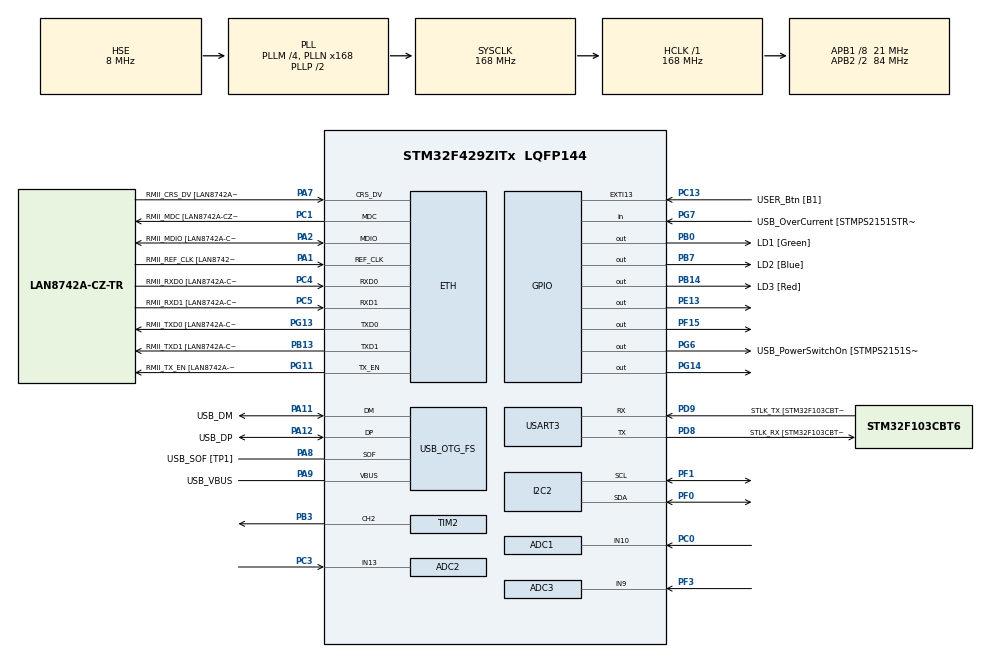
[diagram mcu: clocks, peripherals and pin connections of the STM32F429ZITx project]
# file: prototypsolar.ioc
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ADC1.Channel-0\#ChannelRegularConversion=ADC_CHANNEL_10
ADC1.NbrOfConversionFlag=1
ADC1.Rank-0\#ChannelRegularConversion=1
ADC1.SamplingTime-0\#ChannelRegularConversion=ADC_SAMPLETIME_3CYCLES
ADC1.master=1
ADC2.Channel-1\#ChannelRegularConversion=ADC_CHANNEL_13
ADC2.NbrOfConversionFlag=1
ADC2.Rank-1\#ChannelRegularConversion=1
ADC2.SamplingTime-1\#ChannelRegularConversion=ADC_SAMPLETIME_3CYCLES
ADC3.Channel-0\#ChannelRegularConversion=ADC_CHANNEL_9
ADC3.NbrOfConversionFlag=1
ADC3.Rank-0\#ChannelRegularConversion=1
ADC3.SamplingTime-0\#ChannelRegularConversion=ADC_SAMPLETIME_3CYCLES
ETH.MediaInterface=HAL_ETH_RMII_MODE
ETH.PHY_Name=LAN8742A_PHY_ADDRESS
ETH.PHY_Value=0
ETH.PhyAddress=0
Mcu.Family=STM32F4
Mcu.Name=STM32F429ZITx
Mcu.Package=LQFP144
NVIC.PriorityGroup=NVIC_PRIORITYGROUP_4
NVIC.TIM2_IRQn=true\:0\:0\:false\:false\:true\:true\:true\:true
PA1.GPIO_Label=RMII_REF_CLK [LAN8742A-CZ-TR_REFCLK0]
PA1.Mode=RMII
PA1.Signal=ETH_REF_CLK
PA10.GPIO_Label=USB_ID
PA10.Signal=USB_OTG_FS_ID
PA11.GPIO_Label=USB_DM
PA11.Mode=Device_Only
PA11.Signal=USB_OTG_FS_DM
PA12.GPIO_Label=USB_DP
PA12.Mode=Device_Only
PA12.Signal=USB_OTG_FS_DP
PA13.GPIO_Label=TMS
PA13.Mode=Serial_Wire
PA13.Signal=SYS_JTMS-SWDIO
PA14.GPIO_Label=TCK
PA14.Mode=Serial_Wire
PA14.Signal=SYS_JTCK-SWCLK
PA2.GPIO_Label=RMII_MDIO [LAN8742A-CZ-TR_MDIO]
PA2.Mode=RMII
PA2.Signal=ETH_MDIO
PA7.GPIO_Label=RMII_CRS_DV [LAN8742A-CZ-TR_CRS_DV]
PA7.Mode=RMII
PA7.Signal=ETH_CRS_DV
PA8.GPIO_Label=USB_SOF [TP1]
PA8.Mode=Activate_SOF_FS
PA8.Signal=USB_OTG_FS_SOF
PA9.GPIO_Label=USB_VBUS
PA9.Mode=Activate_VBUS
PA9.Signal=USB_OTG_FS_VBUS
PB0.GPIO_Label=LD1 [Green]
PB0.Signal=GPIO_Output
PB13.GPIO_Label=RMII_TXD1 [LAN8742A-CZ-TR_TXD1]
PB13.Mode=RMII
PB13.Signal=ETH_TXD1
PB14.GPIO_Label=LD3 [Red]
PB14.Signal=GPIO_Output
PB3.Signal=S_TIM2_CH2
PB7.GPIO_Label=LD2 [Blue]
PB7.Signal=GPIO_Output
PC0.Signal=ADCx_IN10
PC1.GPIO_Label=RMII_MDC [LAN8742A-CZ-TR_MDC]
PC1.Mode=RMII
PC1.Signal=ETH_MDC
PC13.GPIO_Label=USER_Btn [B1]
PC13.Signal=GPXTI13
PC14/OSC32_IN.Mode=LSE-External-Oscillator
PC14/OSC32_IN.Signal=RCC_OSC32_IN
PC15/OSC32_OUT.Mode=LSE-External-Oscillator
PC15/OSC32_OUT.Signal=RCC_OSC32_OUT
PC3.Signal=ADCx_IN13
PC4.GPIO_Label=RMII_RXD0 [LAN8742A-CZ-TR_RXD0]
PC4.Mode=RMII
PC4.Signal=ETH_RXD0
PC5.GPIO_Label=RMII_RXD1 [LAN8742A-CZ-TR_RXD1]
PC5.Mode=RMII
PC5.Signal=ETH_RXD1
PD8.GPIO_Label=STLK_RX [STM32F103CBT6_PA3]
PD8.Mode=Asynchronous
PD8.Signal=USART3_TX
PD9.GPIO_Label=STLK_TX [STM32F103CBT6_PA2]
PD9.Mode=Asynchronous
PD9.Signal=USART3_RX
PE13.PinState=GPIO_PIN_SET
PE13.Signal=GPIO_Output
PF0.Mode=I2C
PF0.Signal=I2C2_SDA
PF1.Mode=I2C
PF1.Signal=I2C2_SCL
PF15.PinState=GPIO_PIN_SET
PF15.Signal=GPIO_Output
PF3.Mode=IN9
PF3.Signal=ADC3_IN9
PG11.GPIO_Label=RMII_TX_EN [LAN8742A-CZ-TR_TXEN]
PG11.Mode=RMII
PG11.Signal=ETH_TX_EN
PG13.GPIO_Label=RMII_TXD0 [LAN8742A-CZ-TR_TXD0]
PG13.Mode=RMII
PG13.Signal=ETH_TXD0
PG14.PinState=GPIO_PIN_SET
PG14.Signal=GPIO_Output
PG6.GPIO_Label=USB_PowerSwitchOn [STMPS2151STR_EN]
PG6.Signal=GPIO_Output
PG7.GPIO_Label=USB_OverCurrent [STMPS2151STR_FAULT]
PG7.Signal=GPIO_Input
PH0/OSC_IN.GPIO_Label=MCO [STM32F103CBT6_PA8]
PH0/OSC_IN.Mode=HSE-External-Clock-Source
PH0/OSC_IN.Signal=RCC_OSC_IN
PH1/OSC_OUT.Mode=HSE-External-Clock-Source
PH1/OSC_OUT.Signal=RCC_OSC_OUT
ProjectManager.HeapSize=0x200
ProjectManager.StackSize=0x400
ProjectManager.TargetToolchain=STM32CubeIDE
RCC.48MHZClocksFreq_Value=48000000
RCC.AHBFreq_Value=168000000
RCC.APB1CLKDivider=RCC_HCLK_DIV8
RCC.APB1Freq_Value=21000000
RCC.APB1TimFreq_Value=42000000
RCC.APB2CLKDivider=RCC_HCLK_DIV2
RCC.APB2Freq_Value=84000000
RCC.APB2TimFreq_Value=168000000
RCC.CortexFreq_Value=168000000
RCC.HCLKFreq_Value=168000000
RCC.HSE_VALUE=8000000
RCC.HSI_VALUE=16000000
RCC.PLLM=4
RCC.PLLMUL=RCC_PLL_MUL9
RCC.PLLN=168
RCC.PLLQ=7
RCC.PRESCALERUSB=RCC_USBCLKSOURCE_PLL_DIV1_5
RCC.SYSCLKFreq_VALUE=168000000
RCC.SYSCLKSource=RCC_SYSCLKSOURCE_PLLCLK
RCC.SYSCLKSourceVirtual=RCC_SYSCLKSOURCE_PLLCLK
RCC.USBFreq_Value=48000000
RCC.VCOOutputFreq_Value=336000000
SH.ADCx_IN10.0=ADC1_IN10,IN10
SH.ADCx_IN13.0=ADC2_IN13,IN13
SH.S_TIM2_CH2.0=TIM2_CH2,PWM Generation2 CH2
TIM2.Channel-PWM\ Generation2\ CH2=TIM_CHANNEL_2
TIM2.Period=2000
TIM2.Prescaler=419
USART3.VirtualMode=VM_ASYNC
USB_OTG_FS.VirtualMode=Device_Only
VP_TIM2_VS_ClockSourceINT.Mode=Internal
board=NUCLEO-F429ZI

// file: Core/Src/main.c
/* USER CODE BEGIN Header */
/**
  ******************************************************************************
  * @file           : main.c
  * @brief          : Main program body
  ******************************************************************************
  * @attention
  *
  * Copyright (c) 2023 STMicroelectronics.
  * All rights reserved.
  *
  * This software is licensed under terms that can be found in the LICENSE file
  * in the root directory of this software component.
  * If no LICENSE file comes with this software, it is provided AS-IS.
  *
  ******************************************************************************
  */
/* USER CODE END Header */
#include "main.h"
#include "string.h"

/* USER CODE BEGIN Includes */
#include "servo.h"
#include "ldr.h"
#include "lcd.h"
/* USER CODE END Includes */

ETH_TxPacketConfig TxConfig;
ETH_DMADescTypeDef  DMARxDscrTab[ETH_RX_DESC_CNT]; /* Ethernet Rx DMA Descriptors */
ETH_DMADescTypeDef  DMATxDscrTab[ETH_TX_DESC_CNT]; /* Ethernet Tx DMA Descriptors */

ADC_HandleTypeDef hadc1;
ADC_HandleTypeDef hadc2;
ADC_HandleTypeDef hadc3;

ETH_HandleTypeDef heth;

I2C_HandleTypeDef hi2c2;

TIM_HandleTypeDef htim2;

UART_HandleTypeDef huart3;

PCD_HandleTypeDef hpcd_USB_OTG_FS;

void SystemClock_Config(void);
static void MX_GPIO_Init(void);
static void MX_ETH_Init(void);
static void MX_USART3_UART_Init(void);
static void MX_USB_OTG_FS_PCD_Init(void);
static void MX_TIM2_Init(void);
static void MX_ADC1_Init(void);
static void MX_ADC2_Init(void);
static void MX_ADC3_Init(void);
static void MX_I2C2_Init(void);

int main(void)
{

  /* MCU Configuration--------------------------------------------------------*/

  /* Reset of all peripherals, Initializes the Flash interface and the Systick. */
  HAL_Init();

  /* Configure the system clock */
  SystemClock_Config();

  /* Initialize all configured peripherals */
  MX_GPIO_Init();
  MX_ETH_Init();
  MX_USART3_UART_Init();
  MX_USB_OTG_FS_PCD_Init();
  MX_TIM2_Init();
  MX_ADC1_Init();
  MX_ADC2_Init();
  MX_ADC3_Init();
  MX_I2C2_Init();
  /* USER CODE BEGIN 2 */
  // LCD Initilization
  LCD_HandleTypeDef lcd_handle = {
		  .i2c_addr = LCD_DEFAULT_ADDR,
  	  	  .i2c = &hi2c2,
  	  	  .backlight_enable = true };
  LCD_Begin(&lcd_handle);
  uint8_t lcd_refresh_iterator = 0; // Used to slow refresh rate of lcd display

  // servo Initilization
  servo_start_init(&htim2, TIM_CHANNEL_2);
  servo_reset();

  /* USER CODE END 2 */

  /* Infinite loop */
  /* USER CODE BEGIN WHILE */
  while (1)
  {
	  // read sensor values
	  uint16_t ldr1_value = ldr_get_value(hadc1, 0);
	  uint16_t ldr2_value = ldr_get_value(hadc2, 0);
	  uint16_t solar_value = ldr_get_value(hadc3, 0);

	  // creates function parameter and rotates solar tray accordingly
	  int16_t ldr_diff = ldr1_value - ldr2_value;
	  uint16_t currentpulse = servo_rot(ldr_diff);

	  //Displays solarpanel voltage with slowed refresh rate
	  if(lcd_refresh_iterator % 75 == 0) {
		  LCD_Print_Solar_Voltage(lcd_handle, solar_value);
		  lcd_refresh_iterator = 0;
	  }
	  //reset servo to horizontal position if User Button is pressed
	  if(HAL_GPIO_ReadPin(USER_Btn_GPIO_Port, USER_Btn_Pin) == GPIO_PIN_SET) {
		  servo_reset();
	  }

	  // UART Debug
//	  char buf[50];
//	  sprintf(buf, "Pulse: %lu\r\n", currentpulse);
//	  HAL_UART_Transmit(&huart3, (uint8_t*)buf, strlen(buf), 1000);

	  lcd_refresh_iterator ++;
    /* USER CODE END WHILE */

  }
}

void SystemClock_Config(void)
{
  RCC_OscInitTypeDef RCC_OscInitStruct = {0};
  RCC_ClkInitTypeDef RCC_ClkInitStruct = {0};

  /** Configure the main internal regulator output voltage
  */
  __HAL_RCC_PWR_CLK_ENABLE();
  __HAL_PWR_VOLTAGESCALING_CONFIG(PWR_REGULATOR_VOLTAGE_SCALE1);

  /** Initializes the RCC Oscillators according to the specified parameters
  * in the RCC_OscInitTypeDef structure.
  */
  RCC_OscInitStruct.OscillatorType = RCC_OSCILLATORTYPE_HSE;
  RCC_OscInitStruct.HSEState = RCC_HSE_BYPASS;
  RCC_OscInitStruct.PLL.PLLState = RCC_PLL_ON;
  RCC_OscInitStruct.PLL.PLLSource = RCC_PLLSOURCE_HSE;
  RCC_OscInitStruct.PLL.PLLM = 4;
  RCC_OscInitStruct.PLL.PLLN = 168;
  RCC_OscInitStruct.PLL.PLLP = RCC_PLLP_DIV2;
  RCC_OscInitStruct.PLL.PLLQ = 7;
  if (HAL_RCC_OscConfig(&RCC_OscInitStruct) != HAL_OK)
  {
    Error_Handler();
  }

  /** Initializes the CPU, AHB and APB buses clocks
  */
  RCC_ClkInitStruct.ClockType = RCC_CLOCKTYPE_HCLK|RCC_CLOCKTYPE_SYSCLK
                              |RCC_CLOCKTYPE_PCLK1|RCC_CLOCKTYPE_PCLK2;
  RCC_ClkInitStruct.SYSCLKSource = RCC_SYSCLKSOURCE_PLLCLK;
  RCC_ClkInitStruct.AHBCLKDivider = RCC_SYSCLK_DIV1;
  RCC_ClkInitStruct.APB1CLKDivider = RCC_HCLK_DIV8;
  RCC_ClkInitStruct.APB2CLKDivider = RCC_HCLK_DIV2;

  if (HAL_RCC_ClockConfig(&RCC_ClkInitStruct, FLASH_LATENCY_5) != HAL_OK)
  {
    Error_Handler();
  }
}

static void MX_ADC1_Init(void)
{

  ADC_ChannelConfTypeDef sConfig = {0};

  /** Configure the global features of the ADC (Clock, Resolution, Data Alignment and number of conversion)
  */
  hadc1.Instance = ADC1;
  hadc1.Init.ClockPrescaler = ADC_CLOCK_SYNC_PCLK_DIV4;
  hadc1.Init.Resolution = ADC_RESOLUTION_12B;
  hadc1.Init.ScanConvMode = DISABLE;
  hadc1.Init.ContinuousConvMode = DISABLE;
  hadc1.Init.DiscontinuousConvMode = DISABLE;
  hadc1.Init.ExternalTrigConvEdge = ADC_EXTERNALTRIGCONVEDGE_NONE;
  hadc1.Init.ExternalTrigConv = ADC_SOFTWARE_START;
  hadc1.Init.DataAlign = ADC_DATAALIGN_RIGHT;
  hadc1.Init.NbrOfConversion = 1;
  hadc1.Init.DMAContinuousRequests = DISABLE;
  hadc1.Init.EOCSelection = ADC_EOC_SINGLE_CONV;
  if (HAL_ADC_Init(&hadc1) != HAL_OK)
  {
    Error_Handler();
  }

  /** Configure for the selected ADC regular channel its corresponding rank in the sequencer and its sample time.
  */
  sConfig.Channel = ADC_CHANNEL_10;
  sConfig.Rank = 1;
  sConfig.SamplingTime = ADC_SAMPLETIME_3CYCLES;
  if (HAL_ADC_ConfigChannel(&hadc1, &sConfig) != HAL_OK)
  {
    Error_Handler();
  }

}

static void MX_ADC2_Init(void)
{

  ADC_ChannelConfTypeDef sConfig = {0};

  /** Configure the global features of the ADC (Clock, Resolution, Data Alignment and number of conversion)
  */
  hadc2.Instance = ADC2;
  hadc2.Init.ClockPrescaler = ADC_CLOCK_SYNC_PCLK_DIV4;
  hadc2.Init.Resolution = ADC_RESOLUTION_12B;
  hadc2.Init.ScanConvMode = DISABLE;
  hadc2.Init.ContinuousConvMode = DISABLE;
  hadc2.Init.DiscontinuousConvMode = DISABLE;
  hadc2.Init.ExternalTrigConvEdge = ADC_EXTERNALTRIGCONVEDGE_NONE;
  hadc2.Init.ExternalTrigConv = ADC_SOFTWARE_START;
  hadc2.Init.DataAlign = ADC_DATAALIGN_RIGHT;
  hadc2.Init.NbrOfConversion = 1;
  hadc2.Init.DMAContinuousRequests = DISABLE;
  hadc2.Init.EOCSelection = ADC_EOC_SINGLE_CONV;
  if (HAL_ADC_Init(&hadc2) != HAL_OK)
  {
    Error_Handler();
  }

  /** Configure for the selected ADC regular channel its corresponding rank in the sequencer and its sample time.
  */
  sConfig.Channel = ADC_CHANNEL_13;
  sConfig.Rank = 1;
  sConfig.SamplingTime = ADC_SAMPLETIME_3CYCLES;
  if (HAL_ADC_ConfigChannel(&hadc2, &sConfig) != HAL_OK)
  {
    Error_Handler();
  }

}

static void MX_ADC3_Init(void)
{

  ADC_ChannelConfTypeDef sConfig = {0};

  /** Configure the global features of the ADC (Clock, Resolution, Data Alignment and number of conversion)
  */
  hadc3.Instance = ADC3;
  hadc3.Init.ClockPrescaler = ADC_CLOCK_SYNC_PCLK_DIV4;
  hadc3.Init.Resolution = ADC_RESOLUTION_12B;
  hadc3.Init.ScanConvMode = DISABLE;
  hadc3.Init.ContinuousConvMode = DISABLE;
  hadc3.Init.DiscontinuousConvMode = DISABLE;
  hadc3.Init.ExternalTrigConvEdge = ADC_EXTERNALTRIGCONVEDGE_NONE;
  hadc3.Init.ExternalTrigConv = ADC_SOFTWARE_START;
  hadc3.Init.DataAlign = ADC_DATAALIGN_RIGHT;
  hadc3.Init.NbrOfConversion = 1;
  hadc3.Init.DMAContinuousRequests = DISABLE;
  hadc3.Init.EOCSelection = ADC_EOC_SINGLE_CONV;
  if (HAL_ADC_Init(&hadc3) != HAL_OK)
  {
    Error_Handler();
  }

  /** Configure for the selected ADC regular channel its corresponding rank in the sequencer and its sample time.
  */
  sConfig.Channel = ADC_CHANNEL_9;
  sConfig.Rank = 1;
  sConfig.SamplingTime = ADC_SAMPLETIME_3CYCLES;
  if (HAL_ADC_ConfigChannel(&hadc3, &sConfig) != HAL_OK)
  {
    Error_Handler();
  }

}

static void MX_ETH_Init(void)
{

   static uint8_t MACAddr[6];

  heth.Instance = ETH;
  MACAddr[0] = 0x00;
  MACAddr[1] = 0x80;
  MACAddr[2] = 0xE1;
  MACAddr[3] = 0x00;
  MACAddr[4] = 0x00;
  MACAddr[5] = 0x00;
  heth.Init.MACAddr = &MACAddr[0];
  heth.Init.MediaInterface = HAL_ETH_RMII_MODE;
  heth.Init.TxDesc = DMATxDscrTab;
  heth.Init.RxDesc = DMARxDscrTab;
  heth.Init.RxBuffLen = 1524;

  if (HAL_ETH_Init(&heth) != HAL_OK)
  {
    Error_Handler();
  }

  memset(&TxConfig, 0 , sizeof(ETH_TxPacketConfig));
  TxConfig.Attributes = ETH_TX_PACKETS_FEATURES_CSUM | ETH_TX_PACKETS_FEATURES_CRCPAD;
  TxConfig.ChecksumCtrl = ETH_CHECKSUM_IPHDR_PAYLOAD_INSERT_PHDR_CALC;
  TxConfig.CRCPadCtrl = ETH_CRC_PAD_INSERT;

}

static void MX_I2C2_Init(void)
{

  hi2c2.Instance = I2C2;
  hi2c2.Init.ClockSpeed = 100000;
  hi2c2.Init.DutyCycle = I2C_DUTYCYCLE_2;
  hi2c2.Init.OwnAddress1 = 0;
  hi2c2.Init.AddressingMode = I2C_ADDRESSINGMODE_7BIT;
  hi2c2.Init.DualAddressMode = I2C_DUALADDRESS_DISABLE;
  hi2c2.Init.OwnAddress2 = 0;
  hi2c2.Init.GeneralCallMode = I2C_GENERALCALL_DISABLE;
  hi2c2.Init.NoStretchMode = I2C_NOSTRETCH_DISABLE;
  if (HAL_I2C_Init(&hi2c2) != HAL_OK)
  {
    Error_Handler();
  }

  /** Configure Analogue filter
  */
  if (HAL_I2CEx_ConfigAnalogFilter(&hi2c2, I2C_ANALOGFILTER_ENABLE) != HAL_OK)
  {
    Error_Handler();
  }

  /** Configure Digital filter
  */
  if (HAL_I2CEx_ConfigDigitalFilter(&hi2c2, 0) != HAL_OK)
  {
    Error_Handler();
  }

}

static void MX_TIM2_Init(void)
{

  TIM_ClockConfigTypeDef sClockSourceConfig = {0};
  TIM_MasterConfigTypeDef sMasterConfig = {0};
  TIM_OC_InitTypeDef sConfigOC = {0};

  htim2.Instance = TIM2;
  htim2.Init.Prescaler = 419;
  htim2.Init.CounterMode = TIM_COUNTERMODE_UP;
  htim2.Init.Period = 2000;
  htim2.Init.ClockDivision = TIM_CLOCKDIVISION_DIV1;
  htim2.Init.AutoReloadPreload = TIM_AUTORELOAD_PRELOAD_DISABLE;
  if (HAL_TIM_Base_Init(&htim2) != HAL_OK)
  {
    Error_Handler();
  }
  sClockSourceConfig.ClockSource = TIM_CLOCKSOURCE_INTERNAL;
  if (HAL_TIM_ConfigClockSource(&htim2, &sClockSourceConfig) != HAL_OK)
  {
    Error_Handler();
  }
  if (HAL_TIM_PWM_Init(&htim2) != HAL_OK)
  {
    Error_Handler();
  }
  sMasterConfig.MasterOutputTrigger = TIM_TRGO_RESET;
  sMasterConfig.MasterSlaveMode = TIM_MASTERSLAVEMODE_DISABLE;
  if (HAL_TIMEx_MasterConfigSynchronization(&htim2, &sMasterConfig) != HAL_OK)
  {
    Error_Handler();
  }
  sConfigOC.OCMode = TIM_OCMODE_PWM1;
  sConfigOC.Pulse = 0;
  sConfigOC.OCPolarity = TIM_OCPOLARITY_HIGH;
  sConfigOC.OCFastMode = TIM_OCFAST_DISABLE;
  if (HAL_TIM_PWM_ConfigChannel(&htim2, &sConfigOC, TIM_CHANNEL_2) != HAL_OK)
  {
    Error_Handler();
  }
  HAL_TIM_MspPostInit(&htim2);

}

static void MX_USART3_UART_Init(void)
{

  huart3.Instance = USART3;
  huart3.Init.BaudRate = 115200;
  huart3.Init.WordLength = UART_WORDLENGTH_8B;
  huart3.Init.StopBits = UART_STOPBITS_1;
  huart3.Init.Parity = UART_PARITY_NONE;
  huart3.Init.Mode = UART_MODE_TX_RX;
  huart3.Init.HwFlowCtl = UART_HWCONTROL_NONE;
  huart3.Init.OverSampling = UART_OVERSAMPLING_16;
  if (HAL_UART_Init(&huart3) != HAL_OK)
  {
    Error_Handler();
  }

}

static void MX_USB_OTG_FS_PCD_Init(void)
{

  hpcd_USB_OTG_FS.Instance = USB_OTG_FS;
  hpcd_USB_OTG_FS.Init.dev_endpoints = 4;
  hpcd_USB_OTG_FS.Init.speed = PCD_SPEED_FULL;
  hpcd_USB_OTG_FS.Init.dma_enable = DISABLE;
  hpcd_USB_OTG_FS.Init.phy_itface = PCD_PHY_EMBEDDED;
  hpcd_USB_OTG_FS.Init.Sof_enable = ENABLE;
  hpcd_USB_OTG_FS.Init.low_power_enable = DISABLE;
  hpcd_USB_OTG_FS.Init.lpm_enable = DISABLE;
  hpcd_USB_OTG_FS.Init.vbus_sensing_enable = ENABLE;
  hpcd_USB_OTG_FS.Init.use_dedicated_ep1 = DISABLE;
  if (HAL_PCD_Init(&hpcd_USB_OTG_FS) != HAL_OK)
  {
    Error_Handler();
  }

}

static void MX_GPIO_Init(void)
{
  GPIO_InitTypeDef GPIO_InitStruct = {0};

  /* GPIO Ports Clock Enable */
  __HAL_RCC_GPIOC_CLK_ENABLE();
  __HAL_RCC_GPIOF_CLK_ENABLE();
  __HAL_RCC_GPIOH_CLK_ENABLE();
  __HAL_RCC_GPIOA_CLK_ENABLE();
  __HAL_RCC_GPIOB_CLK_ENABLE();
  __HAL_RCC_GPIOE_CLK_ENABLE();
  __HAL_RCC_GPIOD_CLK_ENABLE();
  __HAL_RCC_GPIOG_CLK_ENABLE();

  /*Configure GPIO pin Output Level */
  HAL_GPIO_WritePin(GPIOB, LD1_Pin|LD3_Pin|LD2_Pin, GPIO_PIN_RESET);

  /*Configure GPIO pin Output Level */
  HAL_GPIO_WritePin(GPIOF, GPIO_PIN_15, GPIO_PIN_SET);

  /*Configure GPIO pin Output Level */
  HAL_GPIO_WritePin(GPIOE, GPIO_PIN_13, GPIO_PIN_SET);

  /*Configure GPIO pin Output Level */
  HAL_GPIO_WritePin(USB_PowerSwitchOn_GPIO_Port, USB_PowerSwitchOn_Pin, GPIO_PIN_RESET);

  /*Configure GPIO pin Output Level */
  HAL_GPIO_WritePin(GPIOG, GPIO_PIN_14, GPIO_PIN_SET);

  /*Configure GPIO pin : USER_Btn_Pin */
  GPIO_InitStruct.Pin = USER_Btn_Pin;
  GPIO_InitStruct.Mode = GPIO_MODE_IT_RISING;
  GPIO_InitStruct.Pull = GPIO_NOPULL;
  HAL_GPIO_Init(USER_Btn_GPIO_Port, &GPIO_InitStruct);

  /*Configure GPIO pins : LD1_Pin LD3_Pin LD2_Pin */
  GPIO_InitStruct.Pin = LD1_Pin|LD3_Pin|LD2_Pin;
  GPIO_InitStruct.Mode = GPIO_MODE_OUTPUT_PP;
  GPIO_InitStruct.Pull = GPIO_NOPULL;
  GPIO_InitStruct.Speed = GPIO_SPEED_FREQ_LOW;
  HAL_GPIO_Init(GPIOB, &GPIO_InitStruct);

  /*Configure GPIO pin : PF15 */
  GPIO_InitStruct.Pin = GPIO_PIN_15;
  GPIO_InitStruct.Mode = GPIO_MODE_OUTPUT_PP;
  GPIO_InitStruct.Pull = GPIO_NOPULL;
  GPIO_InitStruct.Speed = GPIO_SPEED_FREQ_LOW;
  HAL_GPIO_Init(GPIOF, &GPIO_InitStruct);

  /*Configure GPIO pin : PE13 */
  GPIO_InitStruct.Pin = GPIO_PIN_13;
  GPIO_InitStruct.Mode = GPIO_MODE_OUTPUT_PP;
  GPIO_InitStruct.Pull = GPIO_NOPULL;
  GPIO_InitStruct.Speed = GPIO_SPEED_FREQ_LOW;
  HAL_GPIO_Init(GPIOE, &GPIO_InitStruct);

  /*Configure GPIO pins : USB_PowerSwitchOn_Pin PG14 */
  GPIO_InitStruct.Pin = USB_PowerSwitchOn_Pin|GPIO_PIN_14;
  GPIO_InitStruct.Mode = GPIO_MODE_OUTPUT_PP;
  GPIO_InitStruct.Pull = GPIO_NOPULL;
  GPIO_InitStruct.Speed = GPIO_SPEED_FREQ_LOW;
  HAL_GPIO_Init(GPIOG, &GPIO_InitStruct);

  /*Configure GPIO pin : USB_OverCurrent_Pin */
  GPIO_InitStruct.Pin = USB_OverCurrent_Pin;
  GPIO_InitStruct.Mode = GPIO_MODE_INPUT;
  GPIO_InitStruct.Pull = GPIO_NOPULL;
  HAL_GPIO_Init(USB_OverCurrent_GPIO_Port, &GPIO_InitStruct);

}

void Error_Handler(void)
{
  __disable_irq();
  while (1)
  {
  }
}
